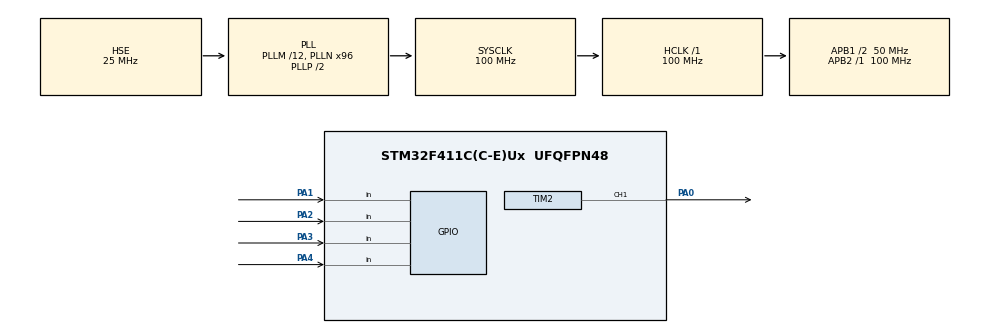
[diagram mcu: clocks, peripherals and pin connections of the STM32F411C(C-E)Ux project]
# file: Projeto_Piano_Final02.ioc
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Mcu.Family=STM32F4
Mcu.Name=STM32F411C(C-E)Ux
Mcu.Package=UFQFPN48
NVIC.PriorityGroup=NVIC_PRIORITYGROUP_4
PA0-WKUP.Signal=S_TIM2_CH1_ETR
PA1.Signal=GPIO_Input
PA13.Mode=Serial_Wire
PA13.Signal=SYS_JTMS-SWDIO
PA14.Mode=Serial_Wire
PA14.Signal=SYS_JTCK-SWCLK
PA2.Signal=GPIO_Input
PA3.Signal=GPIO_Input
PA4.Signal=GPIO_Input
PH0\ -\ OSC_IN.Mode=HSE-External-Oscillator
PH0\ -\ OSC_IN.Signal=RCC_OSC_IN
PH1\ -\ OSC_OUT.Mode=HSE-External-Oscillator
PH1\ -\ OSC_OUT.Signal=RCC_OSC_OUT
ProjectManager.HeapSize=0x200
ProjectManager.StackSize=0x400
ProjectManager.TargetToolchain=CMake
RCC.48MHZClocksFreq_Value=50000000
RCC.AHBFreq_Value=100000000
RCC.APB1CLKDivider=RCC_HCLK_DIV2
RCC.APB1Freq_Value=50000000
RCC.APB1TimFreq_Value=100000000
RCC.APB2Freq_Value=100000000
RCC.APB2TimFreq_Value=100000000
RCC.CortexFreq_Value=100000000
RCC.HCLKFreq_Value=100000000
RCC.HSE_VALUE=25000000
RCC.HSI_VALUE=16000000
RCC.LSE_VALUE=32768
RCC.PLLM=12
RCC.PLLN=96
RCC.PLLSourceVirtual=RCC_PLLSOURCE_HSE
RCC.SYSCLKFreq_VALUE=100000000
RCC.SYSCLKSource=RCC_SYSCLKSOURCE_PLLCLK
RCC.VCOOutputFreq_Value=200000000
SH.S_TIM2_CH1_ETR.0=TIM2_CH1,PWM Generation1 CH1
TIM2.Channel-PWM\ Generation1\ CH1=TIM_CHANNEL_1
TIM2.Period=1000
TIM2.Prescaler=99
VP_TIM2_VS_ClockSourceINT.Mode=Internal
board=custom

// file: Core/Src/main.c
/* USER CODE BEGIN Header */
/**
  ******************************************************************************
  * @file           : main.c
  * @brief          : Main program body
  ******************************************************************************
  * @attention
  *
  * Copyright (c) 2025 STMicroelectronics.
  * All rights reserved.
  *
  * This software is licensed under terms that can be found in the LICENSE file
  * in the root directory of this software component.
  * If no LICENSE file comes with this software, it is provided AS-IS.
  *
  ******************************************************************************
  */
/* USER CODE END Header */
#include "main.h"

TIM_HandleTypeDef htim2;

/* USER CODE BEGIN PV */
/* USER CODE BEGIN PV */
#define NOTA_DO  261
#define NOTA_RE  294
#define NOTA_MI  329
#define NOTA_FA  349
/* USER CODE END PV */

/* USER CODE END PV */

void SystemClock_Config(void);
static void MX_GPIO_Init(void);
static void MX_TIM2_Init(void);

/* USER CODE BEGIN 0 */
/* USER CODE BEGIN 0 */
void tocar_nota(uint32_t frequencia) {
    if (frequencia == 0) {
        __HAL_TIM_SET_COMPARE(&htim2, TIM_CHANNEL_1, 0); // Silêncio
    } else {
        uint32_t novo_arr = 1000000 / frequencia;
        __HAL_TIM_SET_AUTORELOAD(&htim2, novo_arr);
        __HAL_TIM_SET_COMPARE(&htim2, TIM_CHANNEL_1, novo_arr / 2);
        __HAL_TIM_SET_COUNTER(&htim2, 0); // Reinicia contador para resposta rápida
    }
}
/* USER CODE END 0 */

/* USER CODE END 0 */

int main(void)
{

  /* MCU Configuration--------------------------------------------------------*/

  /* Reset of all peripherals, Initializes the Flash interface and the Systick. */
  HAL_Init();

  /* Configure the system clock */
  SystemClock_Config();

  /* Initialize all configured peripherals */
  MX_GPIO_Init();
  MX_TIM2_Init();
  /* USER CODE BEGIN 2 */
  /* USER CODE BEGIN 2 */
  HAL_TIM_PWM_Start(&htim2, TIM_CHANNEL_1);

  /* USER CODE END 2 */

  /* Infinite loop */
  while (1)
  {

    /* USER CODE BEGIN 3 */
    /* USER CODE BEGIN 3 */
    /* USER CODE BEGIN 3 */
    // Lógica Invertida (Para caso esteja usando Pull-Up ou montagem ao contrário)

    if (HAL_GPIO_ReadPin(GPIOA, GPIO_PIN_1) == GPIO_PIN_RESET) { // Mudou de SET para RESET
        tocar_nota(NOTA_DO);
    }
    else if (HAL_GPIO_ReadPin(GPIOA, GPIO_PIN_2) == GPIO_PIN_RESET) {
        tocar_nota(NOTA_RE);
    }
    else if (HAL_GPIO_ReadPin(GPIOA, GPIO_PIN_3) == GPIO_PIN_RESET) {
        tocar_nota(NOTA_MI);
    }
    else if (HAL_GPIO_ReadPin(GPIOA, GPIO_PIN_4) == GPIO_PIN_RESET) {
        tocar_nota(NOTA_FA);
    }
    else {
        tocar_nota(0);
    }

    HAL_Delay(10);
/* USER CODE END 3 */
/* USER CODE END 3 */
  }
  /* USER CODE END 3 */
}

void SystemClock_Config(void)
{
  RCC_OscInitTypeDef RCC_OscInitStruct = {0};
  RCC_ClkInitTypeDef RCC_ClkInitStruct = {0};

  /** Configure the main internal regulator output voltage
  */
  __HAL_RCC_PWR_CLK_ENABLE();
  __HAL_PWR_VOLTAGESCALING_CONFIG(PWR_REGULATOR_VOLTAGE_SCALE1);

  /** Initializes the RCC Oscillators according to the specified parameters
  * in the RCC_OscInitTypeDef structure.
  */
  RCC_OscInitStruct.OscillatorType = RCC_OSCILLATORTYPE_HSE;
  RCC_OscInitStruct.HSEState = RCC_HSE_ON;
  RCC_OscInitStruct.PLL.PLLState = RCC_PLL_ON;
  RCC_OscInitStruct.PLL.PLLSource = RCC_PLLSOURCE_HSE;
  RCC_OscInitStruct.PLL.PLLM = 12;
  RCC_OscInitStruct.PLL.PLLN = 96;
  RCC_OscInitStruct.PLL.PLLP = RCC_PLLP_DIV2;
  RCC_OscInitStruct.PLL.PLLQ = 4;
  if (HAL_RCC_OscConfig(&RCC_OscInitStruct) != HAL_OK)
  {
    Error_Handler();
  }

  /** Initializes the CPU, AHB and APB buses clocks
  */
  RCC_ClkInitStruct.ClockType = RCC_CLOCKTYPE_HCLK|RCC_CLOCKTYPE_SYSCLK
                              |RCC_CLOCKTYPE_PCLK1|RCC_CLOCKTYPE_PCLK2;
  RCC_ClkInitStruct.SYSCLKSource = RCC_SYSCLKSOURCE_PLLCLK;
  RCC_ClkInitStruct.AHBCLKDivider = RCC_SYSCLK_DIV1;
  RCC_ClkInitStruct.APB1CLKDivider = RCC_HCLK_DIV2;
  RCC_ClkInitStruct.APB2CLKDivider = RCC_HCLK_DIV1;

  if (HAL_RCC_ClockConfig(&RCC_ClkInitStruct, FLASH_LATENCY_3) != HAL_OK)
  {
    Error_Handler();
  }
}

static void MX_TIM2_Init(void)
{

  TIM_ClockConfigTypeDef sClockSourceConfig = {0};
  TIM_MasterConfigTypeDef sMasterConfig = {0};
  TIM_OC_InitTypeDef sConfigOC = {0};

  htim2.Instance = TIM2;
  htim2.Init.Prescaler = 99;
  htim2.Init.CounterMode = TIM_COUNTERMODE_UP;
  htim2.Init.Period = 1000;
  htim2.Init.ClockDivision = TIM_CLOCKDIVISION_DIV1;
  htim2.Init.AutoReloadPreload = TIM_AUTORELOAD_PRELOAD_DISABLE;
  if (HAL_TIM_Base_Init(&htim2) != HAL_OK)
  {
    Error_Handler();
  }
  sClockSourceConfig.ClockSource = TIM_CLOCKSOURCE_INTERNAL;
  if (HAL_TIM_ConfigClockSource(&htim2, &sClockSourceConfig) != HAL_OK)
  {
    Error_Handler();
  }
  if (HAL_TIM_PWM_Init(&htim2) != HAL_OK)
  {
    Error_Handler();
  }
  sMasterConfig.MasterOutputTrigger = TIM_TRGO_RESET;
  sMasterConfig.MasterSlaveMode = TIM_MASTERSLAVEMODE_DISABLE;
  if (HAL_TIMEx_MasterConfigSynchronization(&htim2, &sMasterConfig) != HAL_OK)
  {
    Error_Handler();
  }
  sConfigOC.OCMode = TIM_OCMODE_PWM1;
  sConfigOC.Pulse = 0;
  sConfigOC.OCPolarity = TIM_OCPOLARITY_HIGH;
  sConfigOC.OCFastMode = TIM_OCFAST_DISABLE;
  if (HAL_TIM_PWM_ConfigChannel(&htim2, &sConfigOC, TIM_CHANNEL_1) != HAL_OK)
  {
    Error_Handler();
  }
  HAL_TIM_MspPostInit(&htim2);

}

static void MX_GPIO_Init(void)
{
  GPIO_InitTypeDef GPIO_InitStruct = {0};

  /* GPIO Ports Clock Enable */
  __HAL_RCC_GPIOH_CLK_ENABLE();
  __HAL_RCC_GPIOA_CLK_ENABLE();

  /*Configure GPIO pins : PA1 PA2 PA3 PA4 */
  GPIO_InitStruct.Pin = GPIO_PIN_1|GPIO_PIN_2|GPIO_PIN_3|GPIO_PIN_4;
  GPIO_InitStruct.Mode = GPIO_MODE_INPUT;
  GPIO_InitStruct.Pull = GPIO_NOPULL;
  HAL_GPIO_Init(GPIOA, &GPIO_InitStruct);

}

void Error_Handler(void)
{
  __disable_irq();
  while (1)
  {
  }
}
